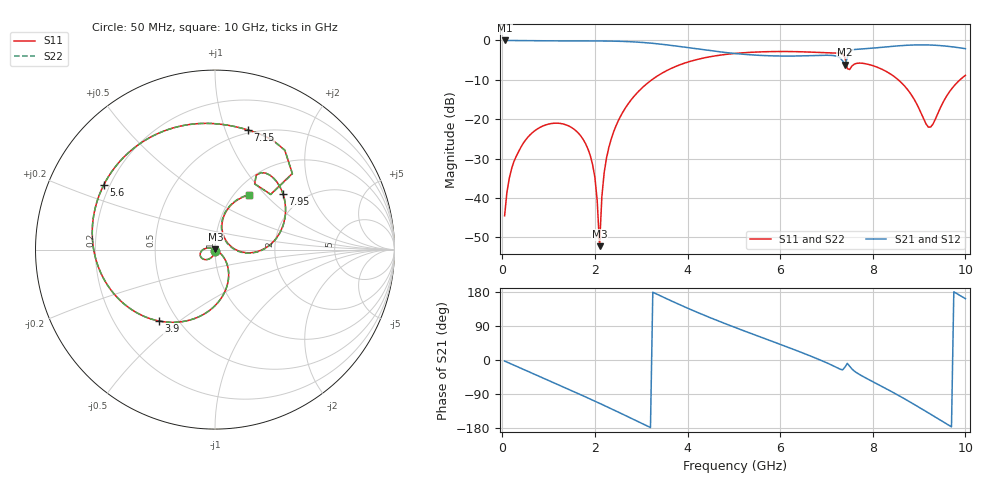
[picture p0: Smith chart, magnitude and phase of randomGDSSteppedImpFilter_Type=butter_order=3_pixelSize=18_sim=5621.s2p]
! freq	dB(S11)	phase(S11)	dB(S12)	phase(S12)
!  dB(S21)	phase(S21)	dB(S22)	phase(S22)
!S-par simulation data
#  GHz  S  DB  R 50
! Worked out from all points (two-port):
!   200 points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, 50 MHz to 10 GHz, reference 50 ohm
!   highest |S21| = 0.00 dB at 50 MHz (marker M1); lowest = -6.2 dB at 7.4 GHz (marker M2)
!   |S21| within 3 dB of the highest: start of sweep to 4.773 GHz; 7.493 GHz to end of sweep
!   lowest |S11| = -52.2 dB at 2.1 GHz (marker M3), VSWR 1.00, Z = 50.2 + j0.159 ohm
!   |S11| at or under -10 dB: start of sweep to 3.228 GHz; 8.551 GHz to 9.884 GHz (1.333 GHz wide, 14.5 % of centre)
!   |S22| runs from -52.2 to -2.8 dB; largest |S21 - S12| = 0
!   S11 on the Smith chart (normalised r, x): 50 MHz: 1.00, -0.01; 3.9 GHz: 0.39, -0.42; 5.6 GHz: 0.18, +0.26; 7.15 GHz: 0.47, +1.20; 7.95 GHz: 1.58, +1.28; 10 GHz: 1.16, +0.82
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0.05  -44.53 -91.9  -0.00 -2.8  -0.00 -2.8  -44.53 -91.9
0.2  -32.61 -99.8  -0.02 -10.9  -0.02 -10.9  -32.61 -99.8
0.6  -23.96 -123.3  -0.06 -32.5  -0.06 -32.5  -23.96 -123.3
1.2  -21.01 -155.7  -0.11 -64.8  -0.11 -64.8  -21.01 -155.7
1.75  -25.20 174.2  -0.12 -94.8  -0.12 -94.8  -25.20 174.2
2  -34.83 160.0  -0.13 -108.7  -0.13 -108.7  -34.82 159.9
2.1  -52.24 40.5  -0.13 -114.3  -0.13 -114.3  -52.24 41.0
2.15  -39.65 -27.5  -0.14 -117.1  -0.14 -117.1  -39.66 -27.2
2.2  -33.57 -30.7  -0.14 -120.0  -0.14 -120.0  -33.57 -30.5
2.4  -23.34 -42.3  -0.18 -131.4  -0.18 -131.4  -23.34 -42.3
3.4  -8.65 -100.6  -0.91 170.2  -0.91 170.2  -8.65 -100.6
3.9  -5.91 -128.3  -1.65 142.2  -1.65 142.2  -5.91 -128.3
5.05  -3.27 174.8  -3.35 84.8  -3.35 84.8  -3.28 174.8
5.6  -2.89 149.9  -3.81 59.6  -3.81 59.6  -2.89 149.8
6.7  -2.98 99.1  -3.85 8.3  -3.85 8.3  -2.98 99.0
7.15  -3.20 74.7  -3.84 -15.5  -3.84 -15.5  -3.21 74.6
7.4  -4.37 44.6  -6.16 -18.8  -6.16 -18.8  -4.39 44.4
7.5  -7.37 58.9  -2.79 -16.3  -2.79 -16.3  -7.39 58.8
7.95  -6.21 39.1  -2.01 -53.9  -2.01 -53.9  -6.22 38.9
8.35  -8.28 16.6  -1.57 -79.7  -1.57 -79.7  -8.29 16.4
9.2  -22.01 27.3  -1.14 -139.5  -1.14 -139.5  -22.32 26.9
10  -8.88 57.9  -2.09 161.9  -2.09 161.9  -8.89 58.4
